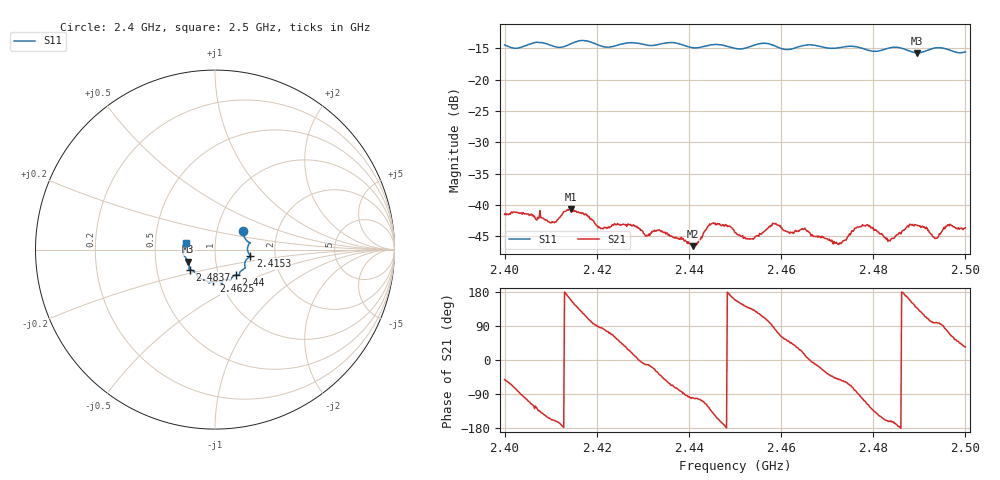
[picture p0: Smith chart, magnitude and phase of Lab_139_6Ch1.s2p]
# Hz S RI R 50
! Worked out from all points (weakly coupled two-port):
!   601 points, 2.4 GHz to 2.5 GHz, reference 50 ohm
!   highest |S21| = -40.67 dB at 2.4143 GHz (marker M1); lowest = -46.6 dB at 2.4408 GHz (marker M2)
!   lowest |S11| = -15.7 dB at 2.4895 GHz (marker M3), VSWR 1.39, Z = 36.8 - j5.14 ohm
!   |S11| at or under -10 dB: start of sweep to end of sweep
!   S12 and S22 are empty: the file has one direction only
!   S11 on the Smith chart (normalised r, x): 2.4 GHz: 1.33, +0.29; 2.4153 GHz: 1.49, -0.11; 2.44 GHz: 1.21, -0.35; 2.4625 GHz: 0.92, -0.34; 2.4837 GHz: 0.74, -0.17; 2.5 GHz: 0.72, +0.05
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2.4e9  0.1567 0.1059  0.00519 -0.00661  0 0  0 0
2.410333e9  0.1848 0.0217  -0.00683 -0.00276  0 0  0 0
2.414333e9  0.1909 -0.0273  -0.00863 0.00333  0 0  0 0
2.415333e9  0.1968 -0.0348  -0.00731 0.00516  0 0  0 0
2.416667e9  0.2013 -0.0399  -0.0053 0.0067  0 0  0 0
2.420833e9  0.1784 -0.0519  0.000543 0.00646  0 0  0 0
2.433333e9  0.136 -0.1336  0.0052 -0.00355  0 0  0 0
2.44e9  0.1159 -0.1406  -0.000558 -0.00488  0 0  0 0
2.440833e9  0.1086 -0.1432  -0.000811 -0.00462  0 0  0 0
2.445e9  0.0858 -0.1694  -0.0052 -0.00486  0 0  0 0
2.45e9  0.0636 -0.1658  -0.0056 0.00221  0 0  0 0
2.458667e9  0.0315 -0.183  0.0011 0.00698  0 0  0 0
2.4625e9  -0.00967 -0.1763  0.00446 0.00409  0 0  0 0
2.466667e9  -0.0329 -0.1863  0.00578 -0.000526  0 0  0 0
2.472667e9  -0.0741 -0.1638  0.00312 -0.00387  0 0  0 0
2.478667e9  -0.1027 -0.1389  -0.00303 -0.00625  0 0  0 0
2.483333e9  -0.1386 -0.1124  -0.00499 -0.0016  0 0  0 0
2.483667e9  -0.1405 -0.112  -0.00488 -0.00169  0 0  0 0
2.4895e9  -0.1487 -0.0681  -0.00507 0.00467  0 0  0 0
2.4935e9  -0.177 -0.028  -0.000808 0.00534  0 0  0 0
2.496167e9  -0.1735 -0.0144  0.00182 0.0067  0 0  0 0
2.5e9  -0.1626 0.0365  0.00542 0.00375  0 0  0 0
